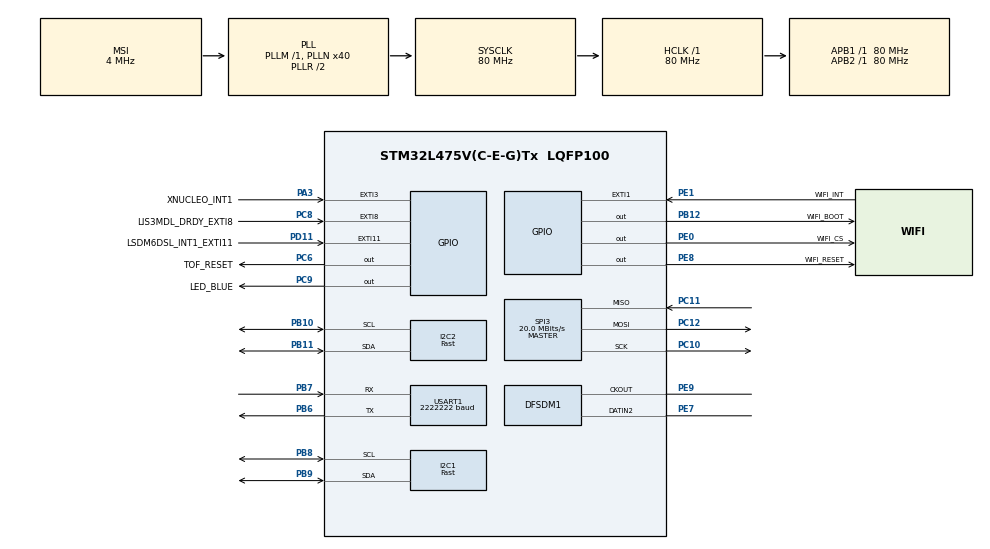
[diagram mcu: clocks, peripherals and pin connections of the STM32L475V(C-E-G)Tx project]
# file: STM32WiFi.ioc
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Dma.SPI3_TX.0.Priority=DMA_PRIORITY_LOW
Dma.DFSDM1_FLT0.2.Mode=DMA_CIRCULAR
SPI3.Direction=SPI_DIRECTION_2LINES
SPI3.VirtualType=VM_MASTER
NVIC.I2C1_EV_IRQn=true\:0\:0\:false\:false\:true\:true\:true
I2C1.I2C_Speed_Mode=I2C_Fast
PB10.Mode=I2C
Dma.USART1_RX.7.Instance=DMA2_Channel7
PC12.Signal=SPI3_MOSI
PE8.GPIO_PuPd=GPIO_PULLUP
PC6.GPIO_Label=TOF_RESET
RCC.SYSCLKSource=RCC_SYSCLKSOURCE_PLLCLK
PA14\ (JTCK-SWCLK).Signal=SYS_JTCK-SWCLK
NVIC.EXTI1_IRQn=true\:0\:0\:false\:false\:true\:true\:true
Dma.I2C1_TX.6.PeriphInc=DMA_PINC_DISABLE
USART1.StopBits=STOPBITS_1
Dma.USART1_TX.8.PeriphInc=DMA_PINC_DISABLE
Dma.USART1_RX.7.Priority=DMA_PRIORITY_LOW
Dma.MEMTOMEM.4.PeriphInc=DMA_PINC_ENABLE
RCC.ADCCLockSelection=RCC_ADCCLKSOURCE_PLLSAI1
Dma.MEMTOMEM.4.PeriphDataAlignment=DMA_PDATAALIGN_BYTE
I2C2.I2C_Speed_Mode=I2C_Fast
RCC.APB2TimFreq_Value=80000000
PB6.Signal=USART1_TX
PB6.Mode=Asynchronous
Dma.DFSDM1_FLT1.3.Direction=DMA_PERIPH_TO_MEMORY
PE1.Signal=GPXTI1
Dma.SPI3_TX.0.Direction=DMA_MEMORY_TO_PERIPH
RCC.I2C3CLockSelection=RCC_I2C3CLKSOURCE_PCLK1
NVIC.EXTI15_10_IRQn=true\:0\:0\:false\:false\:true\:true\:true
RCC.RCC_RTC_Clock_Source_FROM_HSE=32
RCC.RTCClockSelection=RCC_RTCCLKSOURCE_LSI
Dma.DFSDM1_FLT1.3.PeriphInc=DMA_PINC_DISABLE
PB12.GPIO_Label=WIFI_BOOT
Dma.USART1_TX.8.Priority=DMA_PRIORITY_LOW
RCC.SAI1CLockSelection=RCC_SAI1CLKSOURCE_PLLSAI1
PE9.Signal=S_CKOUTDFSDM1
RCC.I2C2CLockSelection=RCC_I2C2CLKSOURCE_PCLK1
NVIC.TIM2_IRQn=true\:0\:0\:false\:false\:true\:true\:true
DFSDM1.Fosr_FIL0=128
NVIC.DMA2_Channel3_IRQn=true\:0\:0\:false\:false\:true\:true\:true
DFSDM1.Fosr_FIL1=128
RCC.UART4CLockSelection=RCC_UART4CLKSOURCE_PCLK1
RCC.OscillatorType=OscillatorTypeHSI|OscillatorTypeLSI|OscillatorTypeHSE|OscillatorTypeLSE|OscillatorTypeMSI
Mcu.Package=LQFP100
PB9.Signal=I2C1_SDA
DFSDM1.Trigger_reg_FIL1=DFSDM_FILTER_SW_TRIGGER
TIM2.Prescaler=800
SPI3.Mode=SPI_MODE_MASTER
Dma.SPI3_RX.1.MemInc=DMA_MINC_ENABLE
PC11.Mode=Full_Duplex_Master
PE8.GPIO_Speed=GPIO_SPEED_FREQ_HIGH
RCC.APB2CLKDivider=RCC_HCLK_DIV1
RCC.UART5CLockSelection=RCC_UART5CLKSOURCE_PCLK1
RCC.APB1TimFreq_Value=80000000
NVIC.DMA1_Channel4_IRQn=true\:0\:0\:false\:false\:true\:false\:true
PA13\ (JTMS-SWDIO).Signal=SYS_JTMS-SWDIO
NVIC.USART1_IRQn=true\:0\:0\:false\:false\:true\:true\:true
Dma.USART1_TX.8.MemInc=DMA_MINC_ENABLE
NVIC.DMA1_Channel6_IRQn=true\:0\:0\:false\:false\:true\:false\:true
Dma.SPI3_RX.1.PeriphDataAlignment=DMA_PDATAALIGN_HALFWORD
RCC.SAI2CLockSelection=RCC_SAI2CLKSOURCE_PLLSAI1
Dma.DFSDM1_FLT0.2.MemInc=DMA_MINC_ENABLE
Dma.DFSDM1_FLT0.2.MemDataAlignment=DMA_MDATAALIGN_WORD
Dma.USART1_TX.8.Instance=DMA2_Channel6
PC6.Signal=GPIO_Output
RCC.APB1TimCLKDivider=1
RCC.APB1CLKDivider=RCC_HCLK_DIV1
Dma.SPI3_RX.1.Instance=DMA2_Channel1
Dma.SPI3_RX.1.MemDataAlignment=DMA_MDATAALIGN_HALFWORD
DFSDM1.Filter_regContinuousMode_FIL1=DFSDM_CONTINUOUS_CONV_ON
Dma.I2C1_RX.5.MemDataAlignment=DMA_MDATAALIGN_BYTE
PB11.Mode=I2C
Dma.DFSDM1_FLT1.3.MemDataAlignment=DMA_MDATAALIGN_WORD
Dma.DFSDM1_FLT1.3.Priority=DMA_PRIORITY_HIGH
Dma.DFSDM1_FLT0.2.Instance=DMA1_Channel4
PE8.GPIO_Label=WIFI_RESET
RCC.HSE_Timout=100
I2C1.Timing=0x00702991
Dma.DFSDM1_FLT1.3.PeriphDataAlignment=DMA_PDATAALIGN_WORD
Dma.SPI3_TX.0.PeriphInc=DMA_PINC_DISABLE
Dma.USART1_TX.8.Direction=DMA_MEMORY_TO_PERIPH
SPI3.FirstBit=SPI_FIRSTBIT_MSB
PB10.Signal=I2C2_SCL
Dma.MEMTOMEM.4.MemDataAlignment=DMA_MDATAALIGN_BYTE
Dma.MEMTOMEM.4.Mode=DMA_NORMAL
PC12.Mode=Full_Duplex_Master
Dma.I2C1_TX.6.Instance=DMA1_Channel6
PE1.GPIO_Label=WIFI_INT
PE14.Signal=QUADSPI_BK1_IO2
PE15.Signal=QUADSPI_BK1_IO3
PE8.Signal=GPIO_Output
NVIC.DMA2_Channel6_IRQn=true\:0\:0\:false\:false\:true\:false\:true
RCC.AHBCLKDivider=RCC_SYSCLK_DIV1
Dma.SPI3_TX.0.Instance=DMA2_Channel2
TIM2.Period=4294967295
RCC.APB2TimCLKDivider=1
PC8.GPIO_PuPd=GPIO_NOPULL
PA13\ (JTMS-SWDIO).Mode=Serial_Wire
RCC.USART1CLockSelection=RCC_USART1CLKSOURCE_PCLK2
Dma.SPI3_TX.0.Mode=DMA_NORMAL
PD11.Signal=GPXTI11
Dma.USART1_RX.7.MemInc=DMA_MINC_ENABLE
NVIC.DMA2_Channel1_IRQn=true\:0\:0\:false\:false\:true\:false\:true
ProjectManager.HeapSize=0x200
Dma.USART1_TX.8.Mode=DMA_NORMAL
Dma.SPI3_RX.1.Mode=DMA_NORMAL
DFSDM1.DmaMode_reg_FIL1=ENABLE
NVIC.PriorityGroup=NVIC_PRIORITYGROUP_4
DFSDM1.DmaMode_reg_FIL0=ENABLE
PB8.Mode=I2C
Dma.USART1_RX.7.PeriphDataAlignment=DMA_PDATAALIGN_BYTE
DFSDM1.Divider=39
TIM2.AutoReloadPreload=TIM_AUTORELOAD_PRELOAD_ENABLE
RCC.USART2CLockSelection=RCC_USART2CLKSOURCE_PCLK1
RCC.USART3CLockSelection=RCC_USART3CLKSOURCE_PCLK1
Dma.USART1_TX.8.PeriphDataAlignment=DMA_PDATAALIGN_BYTE
Dma.DFSDM1_FLT1.3.Mode=DMA_CIRCULAR
Mcu.Family=STM32L4
Dma.SPI3_TX.0.MemInc=DMA_MINC_ENABLE
PE8.PinState=GPIO_PIN_SET
Dma.DFSDM1_FLT0.2.Direction=DMA_PERIPH_TO_MEMORY
RCC.CortexFreq_Value=80000000
NVIC.DMA1_Channel5_IRQn=true\:0\:0\:false\:false\:true\:false\:true
USART1.BaudRate=2222222
PC10.Signal=SPI3_SCK
Dma.I2C1_TX.6.MemDataAlignment=DMA_MDATAALIGN_BYTE
I2C2.Timing=0x00702991
NVIC.EXTI3_IRQn=true\:0\:0\:false\:false\:true\:true\:true
Dma.SPI3_TX.0.PeriphDataAlignment=DMA_PDATAALIGN_HALFWORD
PB11.Signal=I2C2_SDA
ProjectManager.StackSize=0x400
Dma.USART1_RX.7.Mode=DMA_NORMAL
RCC.LPUART1CLockSelection=RCC_LPUART1CLKSOURCE_PCLK1
DFSDM1.Selection=DFSDM_CHANNEL_OUTPUT_CLOCK_SYSTEM
Dma.USART1_TX.8.MemDataAlignment=DMA_MDATAALIGN_BYTE
Dma.I2C1_RX.5.MemInc=DMA_MINC_ENABLE
PD11.GPIO_Label=LSDM6DSL_INT1_EXTI11
RCC.HCLKFreq_Value=80000000
Dma.I2C1_RX.5.Priority=DMA_PRIORITY_LOW
Dma.USART1_RX.7.MemDataAlignment=DMA_MDATAALIGN_BYTE
RCC.AHBFreq_Value=80000000
SPI3.DataSize=SPI_DATASIZE_16BIT
Dma.MEMTOMEM.4.Priority=DMA_PRIORITY_LOW
NVIC.DMA2_Channel2_IRQn=true\:0\:0\:false\:false\:true\:false\:true
RCC.HSE_VALUE=8000000
DFSDM1.FastMode_reg_FIL1=ENABLE
RCC.RCC_MCO1Source=RCC_MCO1SOURCE_SYSCLK
DFSDM1.FastMode_reg_FIL0=ENABLE
RCC.LPTIM2CLockSelection=RCC_LPTIM2CLKSOURCE_PCLK
PE13.Signal=QUADSPI_BK1_IO1
Dma.I2C1_TX.6.MemInc=DMA_MINC_ENABLE
RCC.PLLSAI2R=RCC_PLLR_DIV2
RCC.PLLSAI2P=RCC_PLLP_DIV7
PB7.Signal=USART1_RX
DFSDM1.RightBitShift_CH2=0x02
DFSDM1.RightBitShift_CH1=0x02
Dma.SPI3_TX.0.MemDataAlignment=DMA_MDATAALIGN_HALFWORD
Dma.I2C1_RX.5.Instance=DMA1_Channel7
PE0.GPIO_Label=WIFI_CS
TIM2.TIM_MasterOutputTrigger=TIM_TRGO_RESET
Dma.Request2=DFSDM1_FLT0
Dma.Request1=SPI3_RX
PE8.GPIO_ModeDefaultOutputPP=GPIO_MODE_OUTPUT_PP
Dma.Request4=MEMTOMEM
Dma.Request3=DFSDM1_FLT1
Dma.Request6=I2C1_TX
Dma.Request5=I2C1_RX
Dma.Request8=USART1_TX
Dma.Request7=USART1_RX
RCC.CK48CLockSelection=RCC_USBCLKSOURCE_PLLSAI1
PE7.Signal=S_DATAIN2DFSDM1
Dma.Request0=SPI3_TX
Dma.MEMTOMEM.4.MemInc=DMA_MINC_ENABLE
DFSDM1.SincOrder_FIL0=DFSDM_FILTER_SINC4_ORDER
DFSDM1.SincOrder_FIL1=DFSDM_FILTER_SINC4_ORDER
Dma.MEMTOMEM.4.Instance=DMA2_Channel3
Dma.I2C1_RX.5.Direction=DMA_PERIPH_TO_MEMORY
RCC.MSIClockRange=RCC_MSIRANGE_6
RCC.PLLSAI1R=RCC_PLLR_DIV2
RCC.PLLSAI1P=RCC_PLLP_DIV7
Dma.USART1_RX.7.PeriphInc=DMA_PINC_DISABLE
RCC.PLLSAI1Q=RCC_PLLQ_DIV2
PA3.Signal=GPXTI3
Dma.I2C1_TX.6.Mode=DMA_NORMAL
Dma.I2C1_TX.6.Priority=DMA_PRIORITY_LOW
RCC.MSI_VALUE=4000000
PA14\ (JTCK-SWCLK).Mode=Serial_Wire
Dma.I2C1_TX.6.Direction=DMA_MEMORY_TO_PERIPH
PC9.GPIO_Label=LED_BLUE
PC11.Signal=SPI3_MISO
RCC.I2C1CLockSelection=RCC_I2C1CLKSOURCE_PCLK1
RCC.SWPMI1CLockSelection=RCC_SWPMI1CLKSOURCE_PCLK
SH.S_DATAIN2DFSDM1.1=DFSDM1_DATIN2,PDM_SPI_Input_from_ch12_and_Internal_Clock
PC8.Signal=GPXTI8
PC10.Mode=Full_Duplex_Master
SH.S_DATAIN2DFSDM1.0=DFSDM1_DATIN2,PDM_SPI_input_from_ch2_and_internal_clock
Dma.DFSDM1_FLT1.3.MemInc=DMA_MINC_ENABLE
Dma.SPI3_RX.1.PeriphInc=DMA_PINC_DISABLE
PE1.GPIO_ModeDefaultEXTI=GPIO_MODE_IT_RISING_FALLING
Dma.SPI3_RX.1.Priority=DMA_PRIORITY_LOW
PC8.GPIO_Label=LIS3MDL_DRDY_EXTI8
USART1.VirtualMode-Asynchronous=VM_ASYNC
PE0.PinState=GPIO_PIN_SET
ProjectManager.TargetToolchain=STM32CubeIDE
PB9.Mode=I2C
RCC.LPTIM1CLockSelection=RCC_LPTIM1CLKSOURCE_PCLK
DFSDM1.Type_spi_CH2=DFSDM_CHANNEL_SPI_FALLING
RCC.USBFreq_Value=16000000
Dma.MEMTOMEM.4.Direction=DMA_MEMORY_TO_MEMORY
RCC.LSE_VALUE=32768
board=custom
RCC.VCOOutputFreq_Value=160000000
RCC.APB2Freq_Value=80000000
SPI3.CalculateBaudRate=20.0 MBits/s
VP_TIM2_VS_ClockSourceINT.Mode=Internal
SH.S_CKOUTDFSDM1.0=DFSDM1_CKOUT,PDM_SPI_input_from_ch2_and_internal_clock
SH.S_CKOUTDFSDM1.1=DFSDM1_CKOUT,PDM_SPI_Input_from_ch12_and_Internal_Clock
RCC.ADCFreq_Value=16000000
SPI3.BaudRatePrescaler=SPI_BAUDRATEPRESCALER_4
Dma.DFSDM1_FLT0.2.PeriphDataAlignment=DMA_PDATAALIGN_WORD
Mcu.Name=STM32L475V(C-E-G)Tx
PE0.Signal=GPIO_Output
PE12.Signal=QUADSPI_BK1_IO0
RCC.RCC_MCODiv=RCC_MCODIV_1
Dma.I2C1_TX.6.PeriphDataAlignment=DMA_PDATAALIGN_BYTE
RCC.SYSCLKFreq_VALUE=80000000
Dma.I2C1_RX.5.Mode=DMA_NORMAL
PB7.Mode=Asynchronous
NVIC.EXTI9_5_IRQn=true\:0\:0\:false\:false\:true\:true\:true
Dma.SPI3_RX.1.Direction=DMA_PERIPH_TO_MEMORY
Dma.USART1_RX.7.Direction=DMA_PERIPH_TO_MEMORY
NVIC.DMA2_Channel7_IRQn=true\:0\:0\:false\:false\:true\:false\:true
RCC.HSI_VALUE=16000000
RCC.PLLP=RCC_PLLP_DIV7
Dma.DFSDM1_FLT1.3.Instance=DMA1_Channel5
RCC.PLLQ=RCC_PLLQ_DIV2
RCC.PLLR=RCC_PLLR_DIV2
Dma.DFSDM1_FLT0.2.Priority=DMA_PRIORITY_HIGH
RCC.PLLM=1
Dma.DFSDM1_FLT0.2.PeriphInc=DMA_PINC_DISABLE
RCC.PLLN=40
DFSDM1.Filter_regChannel_FIL1=DFSDM_CHANNEL_2
PB8.Signal=I2C1_SCL
DFSDM1.Filter_regChannel_FIL2=__NULL
NVIC.DMA1_Channel7_IRQn=true\:0\:0\:false\:false\:true\:false\:true
RCC.Cortex_Div=SYSTICK_CLKSOURCE_HCLK
Dma.I2C1_RX.5.PeriphDataAlignment=DMA_PDATAALIGN_BYTE
PC9.Signal=GPIO_Output
DFSDM1.Filter_regChannel_FIL0=DFSDM_CHANNEL_1
RCC.APB1Freq_Value=80000000
Dma.I2C1_RX.5.PeriphInc=DMA_PINC_DISABLE
PB12.Signal=GPIO_Output
PA3.GPIO_Label=XNUCLEO_INT1

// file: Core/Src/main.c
/* USER CODE BEGIN Header */
/**
  ******************************************************************************
  * @file           : main.c
  * @brief          : Main program body
  ******************************************************************************
  * @attention
  *
  * <h2><center>&copy; Copyright (c) 2021 STMicroelectronics.
  * All rights reserved.</center></h2>
  *
  * This software component is licensed by ST under BSD 3-Clause license,
  * the "License"; You may not use this file except in compliance with the
  * License. You may obtain a copy of the License at:
  *                        opensource.org/licenses/BSD-3-Clause
  *
  ******************************************************************************
  */
/* USER CODE END Header */
#include "main.h"

/* USER CODE BEGIN Includes */
#include <stdlib.h>
#include <stdio.h>
/* USER CODE END Includes */

/* USER CODE BEGIN PM */
#include "string.h"
#include "wifi.h"
#include "config.h"
#include "sensors.h"
#include "lsm6dsl_reg.h"
/* USER CODE END PM */

DFSDM_Filter_HandleTypeDef hdfsdm1_filter0;
DFSDM_Filter_HandleTypeDef hdfsdm1_filter1;
DFSDM_Channel_HandleTypeDef hdfsdm1_channel1;
DFSDM_Channel_HandleTypeDef hdfsdm1_channel2;
DMA_HandleTypeDef hdma_dfsdm1_flt0;
DMA_HandleTypeDef hdma_dfsdm1_flt1;

I2C_HandleTypeDef hi2c1;
I2C_HandleTypeDef hi2c2;
DMA_HandleTypeDef hdma_i2c1_rx;
DMA_HandleTypeDef hdma_i2c1_tx;

SPI_HandleTypeDef hspi3;
DMA_HandleTypeDef hdma_spi3_tx;
DMA_HandleTypeDef hdma_spi3_rx;

TIM_HandleTypeDef htim2;

UART_HandleTypeDef huart1;
DMA_HandleTypeDef hdma_usart1_rx;
DMA_HandleTypeDef hdma_usart1_tx;

DMA_HandleTypeDef hdma_memtomem_dma2_channel3;
/* USER CODE BEGIN PV */
uint8_t *payloadBuffers[BUFFER_Q_SIZE];

/* USER CODE END PV */

void SystemClock_Config(void);
static void MX_GPIO_Init(void);
static void MX_DMA_Init(void);
static void MX_SPI3_Init(void);
static void MX_I2C2_Init(void);
static void MX_DFSDM1_Init(void);
static void MX_TIM2_Init(void);
static void MX_I2C1_Init(void);
static void MX_USART1_UART_Init(void);
/* USER CODE BEGIN PFP */
#ifdef __GNUC__
#define PUTCHAR_PROTOTYPE int __io_putchar(int ch)
#else
#define PUTCHAR_PROTOTYPE int fputc(int ch, FILE *f)
#endif

PUTCHAR_PROTOTYPE
{
  HAL_UART_Transmit(&huart1, (uint8_t *)&ch, 1, HAL_MAX_DELAY);
  return ch;
}
/* USER CODE END PFP */

/* USER CODE BEGIN 0 */
uint8_t connected[]={'K','O','\n','\r'};
uint8_t already[]={'l','A','e','r','d'};
int wifiState=0;
const char dummyCommand[DUMMY_LENGTH]={
		 0x0a,0x0a,0x0a,0x0a,0x0a,0x0a,0x0a,0x0a,0x0a,0x0a
		,0x0a,0x0a,0x0a,0x0a,0x0a,0x0a,0x0a,0x0a,0x0a,0x0a
		,0x0a,0x0a,0x0a,0x0a,0x0a,0x0a,0x0a,0x0a,0x0a,0x0a
		,0x0a,0x0a,0x0a,0x0a,0x0a,0x0a,0x0a,0x0a,0x0a,0x0a
		,0x0a,0x0a,0x0a,0x0a,0x0a,0x0a,0x0a,0x0a,0x0a,0x0a
		,0x0a,0x0a,0x0a,0x0a,0x0a,0x0a,0x0a,0x0a,0x0a,0x0a
		,0x0a,0x0a,0x0a,0x0a,0x0a,0x0a,0x0a,0x0a,0x0a,0x0a
		,0x0a,0x0a,0x0a,0x0a,0x0a,0x0a,0x0a,0x0a,0x0a,0x0a
		,0x0a,0x0a,0x0a,0x0a,0x0a,0x0a,0x0a,0x0a,0x0a,0x0a
		,0x0a,0x0a,0x0a,0x0a,0x0a,0x0a,0x0a,0x0a,0x0a,0x0a
};

int CountDigit(int num)
{
	if(num<10) return 1;
	if(num<100) return 2;
	if(num<1000) return 3;
	if(num<10000) return 4;
	return 5;
}
uint8_t UARTTXCompleteFlag=0;

void HAL_I2C_MemRxCpltCallback(I2C_HandleTypeDef *hi2c)
{
	if (hi2c->Instance==hi2c1.Instance)
	lsdm6dslDmaCpltFlg=2;
}

void HAL_UART_TxCpltCallback(UART_HandleTypeDef *huart)
{
	if(huart->Instance==huart1.Instance)
		UARTTXCompleteFlag=1;

  /* NOTE : This function should not be modified, when the callback is needed,
            the HAL_UART_TxCpltCallback can be implemented in the user file.
   */
}

void HAL_UART_TxHalfCpltCallback(UART_HandleTypeDef *huart)
{
	if(huart->Instance==huart1.Instance)
		UARTTXCompleteFlag=1;

  /* NOTE : This function should not be modified, when the callback is needed,
            the HAL_UART_TxCpltCallback can be implemented in the user file.
   */
}

void HAL_GPIO_EXTI_Callback(uint16_t GPIO_Pin)
{
  if(GPIO_Pin == GPIO_PIN_1)
  {
	  if(HAL_GPIO_ReadPin(WIFI_INT_GPIO_Port,WIFI_INT_Pin)==1)
	  {
		  wifiReady=1;
	  }
	  else if(HAL_GPIO_ReadPin(WIFI_INT_GPIO_Port,WIFI_INT_Pin)==0)
	  {
		  DMAReceiveCompleted=1;
	  }
  }
  else if(GPIO_Pin == GPIO_PIN_3)
  {
	  lsdm6dslDataReadyFlg=1;
  }
}

/*
 * microphone dma callback
 * */
uint32_t micDma0HlfCmplt=0;
uint32_t micDma1HlfCmplt=0;
uint32_t micDma0FullCmplt=0;
uint32_t micDma1FullCmplt=0;
uint32_t lastWifiEventTimeStamp=0;
uint8_t lsdm6dslDataReadyFlg=0;

char *sensorBuffer[BUFFER_Q_SIZE];
uint8_t memTomemTransferCompleteFlag=1;
char *micdata0;
char *micdata1;
void HAL_DFSDM_FilterRegConvHalfCpltCallback(DFSDM_Filter_HandleTypeDef *hdfsdm_filter)
{
	/* Prevent unused argument(s) compilation warning */
//	UNUSED(hdfsdm_filter);
	if(hdfsdm_filter==&hdfsdm1_filter0)
	{
		micDma0HlfCmplt=1;
//		enqueue(&sensorBufferQueue, 0);
	}
	else if(hdfsdm_filter==&hdfsdm1_filter1)
	{
		micDma1HlfCmplt=1;
//		enqueue(&sensorBufferQueue, 2);
	}
}

void HAL_DFSDM_FilterRegConvCpltCallback(DFSDM_Filter_HandleTypeDef *hdfsdm_filter)
{
	if(hdfsdm_filter==&hdfsdm1_filter0)
	{
		micDma0FullCmplt=1;
//		enqueue(&sensorBufferQueue, 1);
	}
	else if(hdfsdm_filter==&hdfsdm1_filter1)
	{
		micDma1FullCmplt=1;
//		enqueue(&sensorBufferQueue, 3);
	}
}

int SendDummy()
{
	uint8_t index=0;
	HAL_GPIO_WritePin(WIFI_CS_GPIO_Port,WIFI_CS_Pin,GPIO_PIN_RESET);
	for(index=0;index<128;index+=2)
	{
	  HAL_SPI_TransmitReceive(&hspi3,(uint8_t *)dummyCommand,(uint8_t *)payloadBuffers[2]+index,2/2,1);
	  if(*(payloadBuffers[2]+index)=='>' && *(payloadBuffers[2]+index+1)==' ')
		  break;
	}
	HAL_GPIO_WritePin(WIFI_CS_GPIO_Port,WIFI_CS_Pin,GPIO_PIN_SET);
	while(wifiReady==0);
	if(*(payloadBuffers[2]+index)=='>' && *(payloadBuffers[2]+index+1)==' '){
		return 0;
	}
	else
		return 1;
}

/* USER CODE END 0 */

int main(void)
{

  /* MCU Configuration--------------------------------------------------------*/

  /* Reset of all peripherals, Initializes the Flash interface and the Systick. */
  HAL_Init();

  /* Configure the system clock */
  SystemClock_Config();

  /* Initialize all configured peripherals */
  MX_GPIO_Init();
  MX_DMA_Init();
  MX_SPI3_Init();
  MX_I2C2_Init();
  MX_DFSDM1_Init();
  MX_TIM2_Init();
  MX_I2C1_Init();
  MX_USART1_UART_Init();
  /* USER CODE BEGIN 2 */
    unsigned char emptyBufferIndex=255, fullBufferIndex=255, sensorBufferIndex=255, lsm6dslBufferIndex=255;
	micdata0=malloc((PAYLOAD_LEN-4)*2);
	micdata1=malloc((PAYLOAD_LEN-4)*2);

	int len = CountDigit(PAYLOAD_LEN)+4;
	char header[len];
	sprintf(header,"S3=%d\r", PAYLOAD_LEN);
	payload=malloc(PAYLOAD_LEN+len);
	payloadLen=PAYLOAD_LEN+len;
	memcpy(payload, header, len);
	Qinit(&emptyBufferQueue);
	Qinit(&fullBufferQueue);
	for(int i=0;i<BUFFER_Q_SIZE;i++)
	{
		payloadBuffers[i]=malloc(PAYLOAD_LEN+len);
		memset(payloadBuffers[i],'a',PAYLOAD_LEN+len);
		memcpy(payloadBuffers[i], header, len);
		enqueue(&emptyBufferQueue, i);
	}

	Qinit(&sensorBufferQueue);
	sensorBuffer[0]=&micdata0[0];
	sensorBuffer[1]=&micdata0[PAYLOAD_LEN-4];
	sensorBuffer[2]=&micdata1[0];
	sensorBuffer[3]=&micdata1[PAYLOAD_LEN-4];
	sensorBuffer[4]=&payload[0];

  /* USER CODE END 2 */

  /* Infinite loop */
  /* USER CODE BEGIN WHILE */

  //wait for the module that is ready for communication
  WifiInit();

  //init mems
  HAL_TIM_Base_Start(&htim2);

  MagnetoMeterInitialization(LIS3MDL_LP_1kHz, LIS3MDL_16_GAUSS, LIS3MDL_CONTINUOUS_MODE, 1);
  while(AccelGyroMeterInitialization()!=0)
	  HAL_Delay(500);

  uint32_t start_ts=0;

  	  /* Start DFSDM conversions */
	if( HAL_OK != HAL_DFSDM_FilterRegularStart_DMA(&hdfsdm1_filter0, (int32_t *)micdata0, (PAYLOAD_LEN-4)*2/4) )
	{
	  Error_Handler();
	}
	if( HAL_OK != HAL_DFSDM_FilterRegularStart_DMA(&hdfsdm1_filter1, (int32_t *)micdata1, (PAYLOAD_LEN-4)*2/4) )
	{
	  Error_Handler();
	}

  while (1)
  {
	if(micDma0HlfCmplt==1)
		{
			micDma0HlfCmplt=0;
			enqueue(&sensorBufferQueue, 0);
		}
		if(micDma1HlfCmplt==1)
		{
			micDma1HlfCmplt=0;
			enqueue(&sensorBufferQueue, 2);
		}
		if(micDma0FullCmplt==1)
		{
			micDma0FullCmplt=0;
			enqueue(&sensorBufferQueue, 1);
		}
		if(micDma1FullCmplt==1)
		{
			micDma1FullCmplt=0;
			enqueue(&sensorBufferQueue, 3);
		}

		if(lsdm6dslDataReadyFlg==1 && lsdm6dslDmaCpltFlg==1)
		{
			start_ts=htim2.Instance->CNT;
			if(lsm6dslBufferIndex!=255){
				enqueue(&fullBufferQueue, lsm6dslBufferIndex);
				lsm6dslBufferIndex=255;
			}
			if(dequeue(&emptyBufferQueue, &lsm6dslBufferIndex)==1)
			{
				lsdm6dslDataReadyFlg=0;
				lsdm6dslDmaCpltFlg=0;
				HAL_I2C_Mem_Read_DMA(&SENSOR_BUS, LSM6DSL_I2C_ADD_R, LSM6DSL_FIFO_DATA_OUT_L, I2C_MEMADD_SIZE_8BIT, (uint8_t *)(payloadBuffers[lsm6dslBufferIndex]+len+4), LSDM6DSL_FIFO_THRESHOLD*2);

				*(payloadBuffers[lsm6dslBufferIndex]+8) = LSM6DSL_ID;
				*(payloadBuffers[lsm6dslBufferIndex]+9) = LSM6DSL_ID;
				*(payloadBuffers[lsm6dslBufferIndex]+10) = LSM6DSL_ID;
				*(payloadBuffers[lsm6dslBufferIndex]+11) = LSM6DSL_ID;
			}
			else
			{
				printf("error: there is no empty buffer\n\r");
			}
		}
		if(lsdm6dslDmaCpltFlg==2)
		{
			lsdm6dslDmaCpltFlg=1;
//			printf("%d: %d\t%d\t%d\t%d\t%d\t%d\n\r",(htim2.Instance->CNT-start_ts)*10, (int16_t)((int16_t)(*(payloadBuffers[lsm6dslBufferIndex]+len+4+1)<<8)|*(payloadBuffers[lsm6dslBufferIndex]+len+4+0))
//																				 , (int16_t)((int16_t)(*(payloadBuffers[lsm6dslBufferIndex]+len+4+3)<<8)|*(payloadBuffers[lsm6dslBufferIndex]+len+4+2))
//																				 , (int16_t)((int16_t)(*(payloadBuffers[lsm6dslBufferIndex]+len+4+5)<<8)|*(payloadBuffers[lsm6dslBufferIndex]+len+4+4))
//																				 , (int16_t)((int16_t)(*(payloadBuffers[lsm6dslBufferIndex]+len+4+7)<<8)|*(payloadBuffers[lsm6dslBufferIndex]+len+4+6))
//																				 , (int16_t)((int16_t)(*(payloadBuffers[lsm6dslBufferIndex]+len+4+9)<<8)|*(payloadBuffers[lsm6dslBufferIndex]+len+4+8))
//																				 , (int16_t)((int16_t)(*(payloadBuffers[lsm6dslBufferIndex]+len+4+11)<<8)|*(payloadBuffers[lsm6dslBufferIndex]+len+4+10)));
			if(lsm6dslBufferIndex!=255){
				enqueue(&fullBufferQueue, lsm6dslBufferIndex);
				lsm6dslBufferIndex=255;
			}
		}

	  if(memTomemTransferCompleteFlag==1)
	  {
		  if(emptyBufferIndex!=255){
			  enqueue(&fullBufferQueue, emptyBufferIndex);
			  emptyBufferIndex=255;
		  }
		  if(dequeue(&sensorBufferQueue, &sensorBufferIndex)==1)
		  {
			  // if(index==4) //you should compensate for the transfer size
			  memTomemTransferCompleteFlag=0;
			  if(dequeue(&emptyBufferQueue, &emptyBufferIndex)==1)
			  {
				  if(HAL_OK != HAL_DMA_Start_IT(&hdma_memtomem_dma2_channel3, (uint32_t)sensorBuffer[sensorBufferIndex],
				  			  					  (uint32_t)(payloadBuffers[emptyBufferIndex]+len+4), PAYLOAD_LEN-4))
					{
					  printf("error on micdata0[0] DMA transfer\n\r");
					  enqueue(&emptyBufferQueue, emptyBufferIndex);
					}
				  *(payloadBuffers[emptyBufferIndex]+8) = sensorBufferIndex;
				  *(payloadBuffers[emptyBufferIndex]+9) = sensorBufferIndex;
				  *(payloadBuffers[emptyBufferIndex]+10) = sensorBufferIndex;
				  *(payloadBuffers[emptyBufferIndex]+11) = sensorBufferIndex;
			  }
			  else{
				  printf("error: there is not empty buffer\n\r");
				  memTomemTransferCompleteFlag=1;
			  }
		  }
	  }

		  if((htim2.Instance->CNT-lastWifiEventTimeStamp)>500 && wifiState==1 && wifiReady==1)
		  {
			  if(dequeue(&fullBufferQueue, &fullBufferIndex)==1)
			  {
				lastWifiEventTimeStamp=htim2.Instance->CNT;
				wifiReady=0;
				SendPayload((char *)payloadBuffers[fullBufferIndex], PAYLOAD_LEN+len);
				wifiState=2;
			  }
		  }
		  else if(wifiState==2 && DMATransferCompleted==1)
		  {
			DMATransferCompleted=0;
			HAL_GPIO_WritePin(WIFI_CS_GPIO_Port,WIFI_CS_Pin,GPIO_PIN_SET);
			wifiState=3;
			if(fullBufferIndex!=255){
				enqueue(&emptyBufferQueue, fullBufferIndex);
				fullBufferIndex=255;
			}
		  }
		  else if(wifiState==3 && wifiReady==1)
		  {
			wifiReady=0;
			SendPayload((char *)dummyCommand, DUMMY_LENGTH);
			wifiState=4;
		  }
		  else if(wifiState==4 && DMATransferCompleted==1)
		  {
			DMATransferCompleted=0;
			HAL_GPIO_WritePin(WIFI_CS_GPIO_Port,WIFI_CS_Pin,GPIO_PIN_SET);
			wifiState=1;
		  }
		  if(htim2.Instance->CNT<lastWifiEventTimeStamp)
			  lastWifiEventTimeStamp=htim2.Instance->CNT;
    /* USER CODE END WHILE */

    /* USER CODE BEGIN 3 */
  }
//  RCC_OscInitStruct.OscillatorType = RCC_OSCILLATORTYPE_HSI | RCC_OSCILLATORTYPE_LSI | RCC_OSCILLATORTYPE_HSE | RCC_OSCILLATORTYPE_LSE | RCC_OSCILLATORTYPE_MSI;
  /* USER CODE END 3 */
}

void SystemClock_Config(void)
{
  RCC_OscInitTypeDef RCC_OscInitStruct = {0};
  RCC_ClkInitTypeDef RCC_ClkInitStruct = {0};
  RCC_PeriphCLKInitTypeDef PeriphClkInit = {0};

  /** Initializes the RCC Oscillators according to the specified parameters
  * in the RCC_OscInitTypeDef structure.
  */
  RCC_OscInitStruct.OscillatorType = RCC_OSCILLATORTYPE_HSI | RCC_OSCILLATORTYPE_LSI | RCC_OSCILLATORTYPE_HSE | RCC_OSCILLATORTYPE_LSE | RCC_OSCILLATORTYPE_MSI;
  RCC_OscInitStruct.MSIState = RCC_MSI_ON;
  RCC_OscInitStruct.MSICalibrationValue = 0;
  RCC_OscInitStruct.MSIClockRange = RCC_MSIRANGE_6;
  RCC_OscInitStruct.PLL.PLLState = RCC_PLL_ON;
  RCC_OscInitStruct.PLL.PLLSource = RCC_PLLSOURCE_MSI;
  RCC_OscInitStruct.PLL.PLLM = 1;
  RCC_OscInitStruct.PLL.PLLN = 40;
  RCC_OscInitStruct.PLL.PLLP = RCC_PLLP_DIV7;
  RCC_OscInitStruct.PLL.PLLQ = RCC_PLLQ_DIV2;
  RCC_OscInitStruct.PLL.PLLR = RCC_PLLR_DIV2;
  if (HAL_RCC_OscConfig(&RCC_OscInitStruct) != HAL_OK)
  {
    Error_Handler();
  }
  /** Initializes the CPU, AHB and APB buses clocks
  */
  RCC_ClkInitStruct.ClockType = RCC_CLOCKTYPE_HCLK|RCC_CLOCKTYPE_SYSCLK
                              |RCC_CLOCKTYPE_PCLK1|RCC_CLOCKTYPE_PCLK2;
  RCC_ClkInitStruct.SYSCLKSource = RCC_SYSCLKSOURCE_PLLCLK;
  RCC_ClkInitStruct.AHBCLKDivider = RCC_SYSCLK_DIV1;
  RCC_ClkInitStruct.APB1CLKDivider = RCC_HCLK_DIV1;
  RCC_ClkInitStruct.APB2CLKDivider = RCC_HCLK_DIV1;

  if (HAL_RCC_ClockConfig(&RCC_ClkInitStruct, FLASH_LATENCY_4) != HAL_OK)
  {
    Error_Handler();
  }
  PeriphClkInit.PeriphClockSelection = RCC_PERIPHCLK_USART1|RCC_PERIPHCLK_I2C1
                              |RCC_PERIPHCLK_I2C2|RCC_PERIPHCLK_DFSDM1;
  PeriphClkInit.Usart1ClockSelection = RCC_USART1CLKSOURCE_PCLK2;
  PeriphClkInit.I2c1ClockSelection = RCC_I2C1CLKSOURCE_PCLK1;
  PeriphClkInit.I2c2ClockSelection = RCC_I2C2CLKSOURCE_PCLK1;
  PeriphClkInit.Dfsdm1ClockSelection = RCC_DFSDM1CLKSOURCE_PCLK;
  if (HAL_RCCEx_PeriphCLKConfig(&PeriphClkInit) != HAL_OK)
  {
    Error_Handler();
  }
  /** Configure the main internal regulator output voltage
  */
  if (HAL_PWREx_ControlVoltageScaling(PWR_REGULATOR_VOLTAGE_SCALE1) != HAL_OK)
  {
    Error_Handler();
  }
}

static void MX_DFSDM1_Init(void)
{

  hdfsdm1_filter0.Instance = DFSDM1_Filter0;
  hdfsdm1_filter0.Init.RegularParam.Trigger = DFSDM_FILTER_SW_TRIGGER;
  hdfsdm1_filter0.Init.RegularParam.FastMode = ENABLE;
  hdfsdm1_filter0.Init.RegularParam.DmaMode = ENABLE;
  hdfsdm1_filter0.Init.FilterParam.SincOrder = DFSDM_FILTER_SINC4_ORDER;
  hdfsdm1_filter0.Init.FilterParam.Oversampling = 128;
  hdfsdm1_filter0.Init.FilterParam.IntOversampling = 1;
  if (HAL_DFSDM_FilterInit(&hdfsdm1_filter0) != HAL_OK)
  {
    Error_Handler();
  }
  hdfsdm1_filter1.Instance = DFSDM1_Filter1;
  hdfsdm1_filter1.Init.RegularParam.Trigger = DFSDM_FILTER_SW_TRIGGER;
  hdfsdm1_filter1.Init.RegularParam.FastMode = ENABLE;
  hdfsdm1_filter1.Init.RegularParam.DmaMode = ENABLE;
  hdfsdm1_filter1.Init.FilterParam.SincOrder = DFSDM_FILTER_SINC4_ORDER;
  hdfsdm1_filter1.Init.FilterParam.Oversampling = 128;
  hdfsdm1_filter1.Init.FilterParam.IntOversampling = 1;
  if (HAL_DFSDM_FilterInit(&hdfsdm1_filter1) != HAL_OK)
  {
    Error_Handler();
  }
  hdfsdm1_channel1.Instance = DFSDM1_Channel1;
  hdfsdm1_channel1.Init.OutputClock.Activation = ENABLE;
  hdfsdm1_channel1.Init.OutputClock.Selection = DFSDM_CHANNEL_OUTPUT_CLOCK_SYSTEM;
  hdfsdm1_channel1.Init.OutputClock.Divider = 39;
  hdfsdm1_channel1.Init.Input.Multiplexer = DFSDM_CHANNEL_EXTERNAL_INPUTS;
  hdfsdm1_channel1.Init.Input.DataPacking = DFSDM_CHANNEL_STANDARD_MODE;
  hdfsdm1_channel1.Init.Input.Pins = DFSDM_CHANNEL_FOLLOWING_CHANNEL_PINS;
  hdfsdm1_channel1.Init.SerialInterface.Type = DFSDM_CHANNEL_SPI_RISING;
  hdfsdm1_channel1.Init.SerialInterface.SpiClock = DFSDM_CHANNEL_SPI_CLOCK_INTERNAL;
  hdfsdm1_channel1.Init.Awd.FilterOrder = DFSDM_CHANNEL_FASTSINC_ORDER;
  hdfsdm1_channel1.Init.Awd.Oversampling = 1;
  hdfsdm1_channel1.Init.Offset = 0;
  hdfsdm1_channel1.Init.RightBitShift = 0x02;
  if (HAL_DFSDM_ChannelInit(&hdfsdm1_channel1) != HAL_OK)
  {
    Error_Handler();
  }
  hdfsdm1_channel2.Instance = DFSDM1_Channel2;
  hdfsdm1_channel2.Init.OutputClock.Activation = ENABLE;
  hdfsdm1_channel2.Init.OutputClock.Selection = DFSDM_CHANNEL_OUTPUT_CLOCK_SYSTEM;
  hdfsdm1_channel2.Init.OutputClock.Divider = 39;
  hdfsdm1_channel2.Init.Input.Multiplexer = DFSDM_CHANNEL_EXTERNAL_INPUTS;
  hdfsdm1_channel2.Init.Input.DataPacking = DFSDM_CHANNEL_STANDARD_MODE;
  hdfsdm1_channel2.Init.Input.Pins = DFSDM_CHANNEL_SAME_CHANNEL_PINS;
  hdfsdm1_channel2.Init.SerialInterface.Type = DFSDM_CHANNEL_SPI_FALLING;
  hdfsdm1_channel2.Init.SerialInterface.SpiClock = DFSDM_CHANNEL_SPI_CLOCK_INTERNAL;
  hdfsdm1_channel2.Init.Awd.FilterOrder = DFSDM_CHANNEL_FASTSINC_ORDER;
  hdfsdm1_channel2.Init.Awd.Oversampling = 1;
  hdfsdm1_channel2.Init.Offset = 0;
  hdfsdm1_channel2.Init.RightBitShift = 0x02;
  if (HAL_DFSDM_ChannelInit(&hdfsdm1_channel2) != HAL_OK)
  {
    Error_Handler();
  }
  if (HAL_DFSDM_FilterConfigRegChannel(&hdfsdm1_filter0, DFSDM_CHANNEL_1, DFSDM_CONTINUOUS_CONV_ON) != HAL_OK)
  {
    Error_Handler();
  }
  if (HAL_DFSDM_FilterConfigRegChannel(&hdfsdm1_filter1, DFSDM_CHANNEL_2, DFSDM_CONTINUOUS_CONV_ON) != HAL_OK)
  {
    Error_Handler();
  }

}

static void MX_I2C1_Init(void)
{

  hi2c1.Instance = I2C1;
  hi2c1.Init.Timing = 0x00702991;
  hi2c1.Init.OwnAddress1 = 0;
  hi2c1.Init.AddressingMode = I2C_ADDRESSINGMODE_7BIT;
  hi2c1.Init.DualAddressMode = I2C_DUALADDRESS_DISABLE;
  hi2c1.Init.OwnAddress2 = 0;
  hi2c1.Init.OwnAddress2Masks = I2C_OA2_NOMASK;
  hi2c1.Init.GeneralCallMode = I2C_GENERALCALL_DISABLE;
  hi2c1.Init.NoStretchMode = I2C_NOSTRETCH_DISABLE;
  if (HAL_I2C_Init(&hi2c1) != HAL_OK)
  {
    Error_Handler();
  }
  /** Configure Analogue filter
  */
  if (HAL_I2CEx_ConfigAnalogFilter(&hi2c1, I2C_ANALOGFILTER_ENABLE) != HAL_OK)
  {
    Error_Handler();
  }
  /** Configure Digital filter
  */
  if (HAL_I2CEx_ConfigDigitalFilter(&hi2c1, 0) != HAL_OK)
  {
    Error_Handler();
  }

}

static void MX_I2C2_Init(void)
{

  hi2c2.Instance = I2C2;
  hi2c2.Init.Timing = 0x00702991;
  hi2c2.Init.OwnAddress1 = 0;
  hi2c2.Init.AddressingMode = I2C_ADDRESSINGMODE_7BIT;
  hi2c2.Init.DualAddressMode = I2C_DUALADDRESS_DISABLE;
  hi2c2.Init.OwnAddress2 = 0;
  hi2c2.Init.OwnAddress2Masks = I2C_OA2_NOMASK;
  hi2c2.Init.GeneralCallMode = I2C_GENERALCALL_DISABLE;
  hi2c2.Init.NoStretchMode = I2C_NOSTRETCH_DISABLE;
  if (HAL_I2C_Init(&hi2c2) != HAL_OK)
  {
    Error_Handler();
  }
  /** Configure Analogue filter
  */
  if (HAL_I2CEx_ConfigAnalogFilter(&hi2c2, I2C_ANALOGFILTER_ENABLE) != HAL_OK)
  {
    Error_Handler();
  }
  /** Configure Digital filter
  */
  if (HAL_I2CEx_ConfigDigitalFilter(&hi2c2, 0) != HAL_OK)
  {
    Error_Handler();
  }

}

static void MX_SPI3_Init(void)
{

  /* SPI3 parameter configuration*/
  hspi3.Instance = SPI3;
  hspi3.Init.Mode = SPI_MODE_MASTER;
  hspi3.Init.Direction = SPI_DIRECTION_2LINES;
  hspi3.Init.DataSize = SPI_DATASIZE_16BIT;
  hspi3.Init.CLKPolarity = SPI_POLARITY_LOW;
  hspi3.Init.CLKPhase = SPI_PHASE_1EDGE;
  hspi3.Init.NSS = SPI_NSS_SOFT;
  hspi3.Init.BaudRatePrescaler = SPI_BAUDRATEPRESCALER_4;
  hspi3.Init.FirstBit = SPI_FIRSTBIT_MSB;
  hspi3.Init.TIMode = SPI_TIMODE_DISABLE;
  hspi3.Init.CRCCalculation = SPI_CRCCALCULATION_DISABLE;
  hspi3.Init.CRCPolynomial = 7;
  hspi3.Init.CRCLength = SPI_CRC_LENGTH_DATASIZE;
  hspi3.Init.NSSPMode = SPI_NSS_PULSE_ENABLE;
  if (HAL_SPI_Init(&hspi3) != HAL_OK)
  {
    Error_Handler();
  }

}

static void MX_TIM2_Init(void)
{

  TIM_ClockConfigTypeDef sClockSourceConfig = {0};
  TIM_MasterConfigTypeDef sMasterConfig = {0};

  htim2.Instance = TIM2;
  htim2.Init.Prescaler = 800;
  htim2.Init.CounterMode = TIM_COUNTERMODE_UP;
  htim2.Init.Period = 4294967295;
  htim2.Init.ClockDivision = TIM_CLOCKDIVISION_DIV1;
  htim2.Init.AutoReloadPreload = TIM_AUTORELOAD_PRELOAD_ENABLE;
  if (HAL_TIM_Base_Init(&htim2) != HAL_OK)
  {
    Error_Handler();
  }
  sClockSourceConfig.ClockSource = TIM_CLOCKSOURCE_INTERNAL;
  if (HAL_TIM_ConfigClockSource(&htim2, &sClockSourceConfig) != HAL_OK)
  {
    Error_Handler();
  }
  sMasterConfig.MasterOutputTrigger = TIM_TRGO_RESET;
  sMasterConfig.MasterSlaveMode = TIM_MASTERSLAVEMODE_DISABLE;
  if (HAL_TIMEx_MasterConfigSynchronization(&htim2, &sMasterConfig) != HAL_OK)
  {
    Error_Handler();
  }

}

static void MX_USART1_UART_Init(void)
{

  huart1.Instance = USART1;
  huart1.Init.BaudRate = 576000;
  huart1.Init.WordLength = UART_WORDLENGTH_8B;
  huart1.Init.StopBits = UART_STOPBITS_1;
  huart1.Init.Parity = UART_PARITY_NONE;
  huart1.Init.Mode = UART_MODE_TX_RX;
  huart1.Init.HwFlowCtl = UART_HWCONTROL_NONE;
  huart1.Init.OverSampling = UART_OVERSAMPLING_16;
  huart1.Init.OneBitSampling = UART_ONE_BIT_SAMPLE_DISABLE;
  huart1.AdvancedInit.AdvFeatureInit = UART_ADVFEATURE_NO_INIT;
  if (HAL_UART_Init(&huart1) != HAL_OK)
  {
    Error_Handler();
  }

}

static void MX_DMA_Init(void)
{

  /* DMA controller clock enable */
  __HAL_RCC_DMA2_CLK_ENABLE();
  __HAL_RCC_DMA1_CLK_ENABLE();

  /* Configure DMA request hdma_memtomem_dma2_channel3 on DMA2_Channel3 */
  hdma_memtomem_dma2_channel3.Instance = DMA2_Channel3;
  hdma_memtomem_dma2_channel3.Init.Request = DMA_REQUEST_0;
  hdma_memtomem_dma2_channel3.Init.Direction = DMA_MEMORY_TO_MEMORY;
  hdma_memtomem_dma2_channel3.Init.PeriphInc = DMA_PINC_ENABLE;
  hdma_memtomem_dma2_channel3.Init.MemInc = DMA_MINC_ENABLE;
  hdma_memtomem_dma2_channel3.Init.PeriphDataAlignment = DMA_PDATAALIGN_BYTE;
  hdma_memtomem_dma2_channel3.Init.MemDataAlignment = DMA_MDATAALIGN_BYTE;
  hdma_memtomem_dma2_channel3.Init.Mode = DMA_NORMAL;
  hdma_memtomem_dma2_channel3.Init.Priority = DMA_PRIORITY_LOW;
  if (HAL_DMA_Init(&hdma_memtomem_dma2_channel3) != HAL_OK)
  {
    Error_Handler( );
  }

  /* DMA interrupt init */
  /* DMA1_Channel4_IRQn interrupt configuration */
  HAL_NVIC_SetPriority(DMA1_Channel4_IRQn, 0, 0);
  HAL_NVIC_EnableIRQ(DMA1_Channel4_IRQn);
  /* DMA1_Channel5_IRQn interrupt configuration */
  HAL_NVIC_SetPriority(DMA1_Channel5_IRQn, 0, 0);
  HAL_NVIC_EnableIRQ(DMA1_Channel5_IRQn);
  /* DMA1_Channel6_IRQn interrupt configuration */
  HAL_NVIC_SetPriority(DMA1_Channel6_IRQn, 0, 0);
  HAL_NVIC_EnableIRQ(DMA1_Channel6_IRQn);
  /* DMA1_Channel7_IRQn interrupt configuration */
  HAL_NVIC_SetPriority(DMA1_Channel7_IRQn, 0, 0);
  HAL_NVIC_EnableIRQ(DMA1_Channel7_IRQn);
  /* DMA2_Channel1_IRQn interrupt configuration */
  HAL_NVIC_SetPriority(DMA2_Channel1_IRQn, 0, 0);
  HAL_NVIC_EnableIRQ(DMA2_Channel1_IRQn);
  /* DMA2_Channel2_IRQn interrupt configuration */
  HAL_NVIC_SetPriority(DMA2_Channel2_IRQn, 0, 0);
  HAL_NVIC_EnableIRQ(DMA2_Channel2_IRQn);
  /* DMA2_Channel3_IRQn interrupt configuration */
  HAL_NVIC_SetPriority(DMA2_Channel3_IRQn, 0, 0);
  HAL_NVIC_EnableIRQ(DMA2_Channel3_IRQn);
  /* DMA2_Channel6_IRQn interrupt configuration */
  HAL_NVIC_SetPriority(DMA2_Channel6_IRQn, 0, 0);
  HAL_NVIC_EnableIRQ(DMA2_Channel6_IRQn);
  /* DMA2_Channel7_IRQn interrupt configuration */
  HAL_NVIC_SetPriority(DMA2_Channel7_IRQn, 0, 0);
  HAL_NVIC_EnableIRQ(DMA2_Channel7_IRQn);

}

static void MX_GPIO_Init(void)
{
  GPIO_InitTypeDef GPIO_InitStruct = {0};

  /* GPIO Ports Clock Enable */
  __HAL_RCC_GPIOA_CLK_ENABLE();
  __HAL_RCC_GPIOE_CLK_ENABLE();
  __HAL_RCC_GPIOB_CLK_ENABLE();
  __HAL_RCC_GPIOD_CLK_ENABLE();
  __HAL_RCC_GPIOC_CLK_ENABLE();

  /*Configure GPIO pin Output Level */
  HAL_GPIO_WritePin(GPIOE, WIFI_RESET_Pin|WIFI_CS_Pin, GPIO_PIN_SET);

  /*Configure GPIO pin Output Level */
  HAL_GPIO_WritePin(WIFI_BOOT_GPIO_Port, WIFI_BOOT_Pin, GPIO_PIN_RESET);

  /*Configure GPIO pin Output Level */
  HAL_GPIO_WritePin(GPIOC, TOF_RESET_Pin|LED_BLUE_Pin, GPIO_PIN_RESET);

  /*Configure GPIO pin : XNUCLEO_INT1_Pin */
  GPIO_InitStruct.Pin = XNUCLEO_INT1_Pin;
  GPIO_InitStruct.Mode = GPIO_MODE_IT_RISING;
  GPIO_InitStruct.Pull = GPIO_NOPULL;
  HAL_GPIO_Init(XNUCLEO_INT1_GPIO_Port, &GPIO_InitStruct);

  /*Configure GPIO pin : WIFI_RESET_Pin */
  GPIO_InitStruct.Pin = WIFI_RESET_Pin;
  GPIO_InitStruct.Mode = GPIO_MODE_OUTPUT_PP;
  GPIO_InitStruct.Pull = GPIO_PULLUP;
  GPIO_InitStruct.Speed = GPIO_SPEED_FREQ_HIGH;
  HAL_GPIO_Init(WIFI_RESET_GPIO_Port, &GPIO_InitStruct);

  /*Configure GPIO pins : PE12 PE13 PE14 PE15 */
  GPIO_InitStruct.Pin = GPIO_PIN_12|GPIO_PIN_13|GPIO_PIN_14|GPIO_PIN_15;
  GPIO_InitStruct.Mode = GPIO_MODE_AF_PP;
  GPIO_InitStruct.Pull = GPIO_NOPULL;
  GPIO_InitStruct.Speed = GPIO_SPEED_FREQ_VERY_HIGH;
  GPIO_InitStruct.Alternate = GPIO_AF10_QUADSPI;
  HAL_GPIO_Init(GPIOE, &GPIO_InitStruct);

  /*Configure GPIO pin : WIFI_BOOT_Pin */
  GPIO_InitStruct.Pin = WIFI_BOOT_Pin;
  GPIO_InitStruct.Mode = GPIO_MODE_OUTPUT_PP;
  GPIO_InitStruct.Pull = GPIO_NOPULL;
  GPIO_InitStruct.Speed = GPIO_SPEED_FREQ_LOW;
  HAL_GPIO_Init(WIFI_BOOT_GPIO_Port, &GPIO_InitStruct);

  /*Configure GPIO pin : LSDM6DSL_INT1_EXTI11_Pin */
  GPIO_InitStruct.Pin = LSDM6DSL_INT1_EXTI11_Pin;
  GPIO_InitStruct.Mode = GPIO_MODE_IT_RISING;
  GPIO_InitStruct.Pull = GPIO_NOPULL;
  HAL_GPIO_Init(LSDM6DSL_INT1_EXTI11_GPIO_Port, &GPIO_InitStruct);

  /*Configure GPIO pins : TOF_RESET_Pin LED_BLUE_Pin */
  GPIO_InitStruct.Pin = TOF_RESET_Pin|LED_BLUE_Pin;
  GPIO_InitStruct.Mode = GPIO_MODE_OUTPUT_PP;
  GPIO_InitStruct.Pull = GPIO_NOPULL;
  GPIO_InitStruct.Speed = GPIO_SPEED_FREQ_LOW;
  HAL_GPIO_Init(GPIOC, &GPIO_InitStruct);

  /*Configure GPIO pin : LIS3MDL_DRDY_EXTI8_Pin */
  GPIO_InitStruct.Pin = LIS3MDL_DRDY_EXTI8_Pin;
  GPIO_InitStruct.Mode = GPIO_MODE_IT_RISING;
  GPIO_InitStruct.Pull = GPIO_NOPULL;
  HAL_GPIO_Init(LIS3MDL_DRDY_EXTI8_GPIO_Port, &GPIO_InitStruct);

  /*Configure GPIO pin : WIFI_CS_Pin */
  GPIO_InitStruct.Pin = WIFI_CS_Pin;
  GPIO_InitStruct.Mode = GPIO_MODE_OUTPUT_PP;
  GPIO_InitStruct.Pull = GPIO_NOPULL;
  GPIO_InitStruct.Speed = GPIO_SPEED_FREQ_LOW;
  HAL_GPIO_Init(WIFI_CS_GPIO_Port, &GPIO_InitStruct);

  /*Configure GPIO pin : WIFI_INT_Pin */
  GPIO_InitStruct.Pin = WIFI_INT_Pin;
  GPIO_InitStruct.Mode = GPIO_MODE_IT_RISING_FALLING;
  GPIO_InitStruct.Pull = GPIO_NOPULL;
  HAL_GPIO_Init(WIFI_INT_GPIO_Port, &GPIO_InitStruct);

  /* EXTI interrupt init*/
  HAL_NVIC_SetPriority(EXTI1_IRQn, 0, 0);
  HAL_NVIC_EnableIRQ(EXTI1_IRQn);

  HAL_NVIC_SetPriority(EXTI3_IRQn, 0, 0);
  HAL_NVIC_EnableIRQ(EXTI3_IRQn);

  HAL_NVIC_SetPriority(EXTI9_5_IRQn, 0, 0);
  HAL_NVIC_EnableIRQ(EXTI9_5_IRQn);

  HAL_NVIC_SetPriority(EXTI15_10_IRQn, 0, 0);
  HAL_NVIC_EnableIRQ(EXTI15_10_IRQn);

}

void Error_Handler(void)
{
  __disable_irq();
  while (1)
  {
  }
}

/************************ (C) COPYRIGHT STMicroelectronics *****END OF FILE****/
